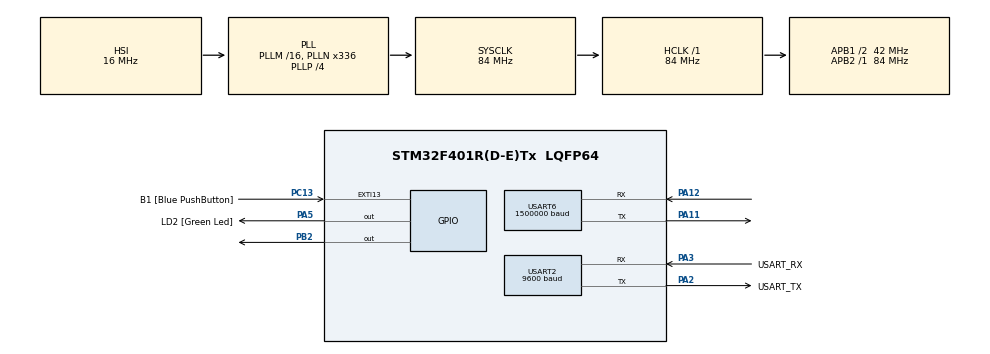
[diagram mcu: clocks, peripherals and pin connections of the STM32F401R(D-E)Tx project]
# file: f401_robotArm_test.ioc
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Mcu.Family=STM32F4
Mcu.Name=STM32F401R(D-E)Tx
Mcu.Package=LQFP64
NVIC.PriorityGroup=NVIC_PRIORITYGROUP_0
NVIC.USART2_IRQn=true\:0\:0\:false\:false\:true\:true\:true
PA11.Mode=Asynchronous
PA11.Signal=USART6_TX
PA12.Mode=Asynchronous
PA12.Signal=USART6_RX
PA13.GPIO_Label=TMS
PA13.Mode=Serial_Wire
PA13.Signal=SYS_JTMS-SWDIO
PA14.GPIO_Label=TCK
PA14.Mode=Serial_Wire
PA14.Signal=SYS_JTCK-SWCLK
PA2.GPIO_Label=USART_TX
PA2.GPIO_Mode=GPIO_MODE_AF_PP
PA2.GPIO_PuPd=GPIO_NOPULL
PA2.GPIO_Speed=GPIO_SPEED_FREQ_LOW
PA2.Mode=Asynchronous
PA2.Signal=USART2_TX
PA3.GPIO_Label=USART_RX
PA3.GPIO_Mode=GPIO_MODE_AF_PP
PA3.GPIO_PuPd=GPIO_NOPULL
PA3.GPIO_Speed=GPIO_SPEED_FREQ_LOW
PA3.Mode=Asynchronous
PA3.Signal=USART2_RX
PA5.GPIO_Label=LD2 [Green Led]
PA5.GPIO_Mode=GPIO_MODE_OUTPUT_PP
PA5.GPIO_PuPd=GPIO_NOPULL
PA5.GPIO_Speed=GPIO_SPEED_FREQ_LOW
PA5.Signal=GPIO_Output
PB2.Signal=GPIO_Output
PB3.GPIO_Label=SWO
PB3.Signal=SYS_JTDO-SWO
PC13-ANTI_TAMP.GPIO_Label=B1 [Blue PushButton]
PC13-ANTI_TAMP.GPIO_ModeDefaultEXTI=GPIO_MODE_IT_FALLING
PC13-ANTI_TAMP.GPIO_PuPd=GPIO_NOPULL
PC13-ANTI_TAMP.Signal=GPXTI13
PC14-OSC32_IN.Mode=LSE-External-Oscillator
PC14-OSC32_IN.Signal=RCC_OSC32_IN
PC15-OSC32_OUT.Mode=LSE-External-Oscillator
PC15-OSC32_OUT.Signal=RCC_OSC32_OUT
PH0\ -\ OSC_IN.Mode=HSE-External-Clock-Source
PH0\ -\ OSC_IN.Signal=RCC_OSC_IN
PH1\ -\ OSC_OUT.Mode=HSE-External-Clock-Source
PH1\ -\ OSC_OUT.Signal=RCC_OSC_OUT
ProjectManager.HeapSize=0x200
ProjectManager.StackSize=0x400
ProjectManager.TargetToolchain=STM32CubeIDE
RCC.48MHZClocksFreq_Value=48000000
RCC.AHBFreq_Value=84000000
RCC.APB1CLKDivider=RCC_HCLK_DIV2
RCC.APB1Freq_Value=42000000
RCC.APB1TimFreq_Value=84000000
RCC.APB2Freq_Value=84000000
RCC.APB2TimFreq_Value=84000000
RCC.CortexFreq_Value=84000000
RCC.HCLKFreq_Value=84000000
RCC.HSE_VALUE=8000000
RCC.HSI_VALUE=16000000
RCC.PLLN=336
RCC.PLLP=RCC_PLLP_DIV4
RCC.PLLQ=7
RCC.SYSCLKFreq_VALUE=84000000
RCC.SYSCLKSource=RCC_SYSCLKSOURCE_PLLCLK
RCC.VCOOutputFreq_Value=336000000
USART2.BaudRate=9600
USART2.VirtualMode=VM_ASYNC
USART6.BaudRate=1500000
USART6.VirtualMode=VM_ASYNC
board=NUCLEO-F401RE

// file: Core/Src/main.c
/* USER CODE BEGIN Header */
/**
  ******************************************************************************
  * @file           : main.c
  * @brief          : Main program body
  ******************************************************************************
  * @attention
  *
  * <h2><center>&copy; Copyright (c) 2022 STMicroelectronics.
  * All rights reserved.</center></h2>
  *
  * This software component is licensed by ST under BSD 3-Clause license,
  * the "License"; You may not use this file except in compliance with the
  * License. You may obtain a copy of the License at:
  *                        opensource.org/licenses/BSD-3-Clause
  *
  ******************************************************************************
  */
/* USER CODE END Header */
#include "main.h"

/* USER CODE BEGIN Includes */
#define DED_ZONE 10
/* USER CODE END Includes */

UART_HandleTypeDef huart2;
UART_HandleTypeDef huart6;

void SystemClock_Config(void);
static void MX_GPIO_Init(void);
static void MX_USART2_UART_Init(void);
static void MX_USART6_UART_Init(void);

/* USER CODE BEGIN 0 */
int gUartReceived = 0;
uint8_t buffer[256];

/* USER CODE END 0 */

int main(void)
{

  /* MCU Configuration--------------------------------------------------------*/

  /* Reset of all peripherals, Initializes the Flash interface and the Systick. */
  HAL_Init();

  /* Configure the system clock */
  SystemClock_Config();

  /* Initialize all configured peripherals */
  MX_GPIO_Init();
  MX_USART2_UART_Init();
  MX_USART6_UART_Init();
  /* USER CODE BEGIN 2 */

  printf("start arm test\r\n");
  uint8_t txdata[9] = {0};
  uint8_t rxdata[20] = {0};
  short torque_val=0, enc_data,dis,pos_tg;

  float pos2enc_tg(int pos){
	  float deg = pos/100;
	  return 11.375*deg;
  }

  void pos(unsigned char id,short deg,unsigned short time)
  {
    unsigned char deg_l = (unsigned char)(deg)&0x00FF;
    unsigned char deg_h = (unsigned char)(deg>>8)&0x00FF;
    unsigned char time_l = (unsigned char)(time)&0x00FF;
    unsigned char time_h = (unsigned char)(time>>8)&0x00FF;
    unsigned char sum = (0x09+0x06+id+deg_l+deg_h+time_l+time_h)&0x00FF;

    HAL_GPIO_WritePin(GPIOB, GPIO_PIN_2, 1);

    txdata[0]=0x09;   //1 SIZE
    txdata[1]=0x06;   //2 COMMAND
    txdata[2]=0x00;   //3 OPTION
    txdata[3]=id;     //4 ID
    txdata[4]=deg_l;  //5 POS_L
    txdata[5]=deg_h;  //6 POS_H
    txdata[6]=time_l; //7 TIME_L
    txdata[7]=time_h; //8 TIME_H
    txdata[8]=sum;    //9 SUM

	HAL_UART_Transmit(&huart6, txdata, 9, 0xFFFF);
    HAL_Delay(0.03);
    HAL_GPIO_WritePin(GPIOB, GPIO_PIN_2, 0);
  }
  void speed(unsigned char id,short speed)
  {
      unsigned char speed_l = (unsigned char)(speed)&0x00FF;
      unsigned char speed_h = (unsigned char)(speed>>8)&0x00FF;
      unsigned char sum = (0x09+0x04+0x00+id+speed_l+speed_h+0x30+0x01)&0x00FF;

      HAL_GPIO_WritePin(GPIOB, GPIO_PIN_2, 1);

      txdata[0]=0x09;//SIZE
      txdata[1]=0x04;//COMMAND
      txdata[2]=0x00;//OPTION
      txdata[3]=id;//ID
      txdata[4]=speed_l;//SPEED_LOWBYTE
      txdata[5]=speed_h;//SPEED_HIGHBYTE
      txdata[6]=0x30;//ADRESS(SPEED 0x03)
      txdata[7]=0x01;//COUNT
      txdata[8]=sum;//SUM

      HAL_UART_Transmit(&huart6, txdata, 9, 0xFFFF);
      HAL_Delay(0.03);
      HAL_GPIO_WritePin(GPIOB, GPIO_PIN_2, 0);
  }
  void torque(unsigned char id,short torque)
  {
      unsigned char torque_l = (unsigned char)(torque)&0x00FF;
      unsigned char torque_h = (unsigned char)(torque>>8)&0x00FF;
      unsigned char sum = (0x09+0x04+0x00+id+torque_l+torque_h+0x3C+0x01)&0x00FF;

      HAL_GPIO_WritePin(GPIOB, GPIO_PIN_2, 1);

      txdata[0]=0x09;//SIZE
      txdata[1]=0x04;//COMMAND
      txdata[2]=0x00;//OPTION
      txdata[3]=id;//ID
      txdata[4]=torque_l;//TORQUE_LOWBYTE
      txdata[5]=torque_h;//TORQUE_HIGHBYTE
      txdata[6]=0x3C;//ADRESS(TORQUE 0x03)
      txdata[7]=0x01;//COUNT
      txdata[8]=sum;//SUM

      HAL_UART_Transmit(&huart6, txdata, 9, 0xFFFF);
      HAL_Delay(0.03);
      HAL_GPIO_WritePin(GPIOB, GPIO_PIN_2, 0);
  }

  void write(unsigned char id,unsigned char data,unsigned char adress)
  {
      unsigned char sum = (0x08+0x04+0x00+id+data+adress+0x01)&0x00FF;
     HAL_GPIO_WritePin(GPIOB, GPIO_PIN_2, 1);
     txdata[0]=0x08;   //1 SIZE
     txdata[1]=0x04;   //2 COMMAND
     txdata[2]=0x00;   //3 OPTION
     txdata[3]=id;     //4 ID
     txdata[4]=data;  //DATA
     txdata[5]=adress;  //ADRESS
     txdata[6]=0x01; //COUNT
     txdata[7]=sum;    //9 SUM

     HAL_UART_Transmit(&huart6, txdata, 8, 0xFFFF);
     HAL_Delay(0.03);
     HAL_GPIO_WritePin(GPIOB, GPIO_PIN_2, 0);

  }
  void read(unsigned char id,unsigned char address,unsigned char length)
  {
	  HAL_GPIO_WritePin(GPIOB, GPIO_PIN_2, 1);
      unsigned char sum = (0x07+0x03+0x00+id+address+length)&0x00FF;
      txdata[0]=0x07;       //SIZE
      txdata[1]=0x03;       //COMMAND
      txdata[2]=0x00;       //OPTION
      txdata[3]=id;         //ID
      txdata[4]=address;    //ADDRESS(Current 0x48,MotorTemperature 0x46)
      txdata[5]=length;     //LENGTH byte
      txdata[6]=sum;        //SUM
      HAL_UART_Transmit(&huart6, txdata, 7, 0xFFFF);
//      HAL_Delay(0.03);
      HAL_GPIO_WritePin(GPIOB, GPIO_PIN_2, 0);
      //wait(0.001);
  }
  int torque_calc(short enc_data,short enc_tg){
	  short torque=0;
	  if(enc_tg-enc_data<0)torque=-200;
	  else torque=200;
	  if(abs(enc_tg-enc_data)<DED_ZONE)torque=0;

	  return torque;
  }

  pos_tg=0;
  float enc_tg=pos2enc_tg(pos_tg);

//----------init--------------------------

  HAL_Delay(5000);
  //id1 torque setting
  write(0x01,0x0A,0x28);
  write(0x01,0x02,0x5C);
  write(0x01,0x08,0x28);

  //id2  pos setting
  write(0x02,0x00,0x28);
  write(0x02,0x00,0x5C);
  write(0x02,0x01,0x29);
  pos(0x02,pos_tg,1000);

  //uart intrrupt setting
  HAL_UART_Receive_IT(&huart2, buffer,6);

  /* USER CODE END 2 */

  /* Infinite loop */
  /* USER CODE BEGIN WHILE */
  while (1)
  {
	  //uart process
	  if(gUartReceived == 1) {
  		  int pos_tg=atol(buffer);
  		  if(abs(pos_tg)>18000){ //posistion error handler
  			  printf("pos ERORR %d\r\n",pos_tg);
  		  }
  		  else{
  			  pos(0x02,pos_tg,1000);
  			  enc_tg=pos2enc_tg(pos_tg);
  			  printf("position is %d\r\n",pos_tg);
  		  }
  		  gUartReceived = 0;
	  }
	  dis=enc_tg-enc_data;

	  torque(0x01,torque_val=torque_calc(enc_data,enc_tg));
	  printf("torque:%3d encoder:%5d distance:%5d\r\n",torque_val,enc_data,dis);

//-------read-------------------------
	  read(0x01,0x50,0x02);
      HAL_UART_Receive(&huart6,rxdata,10,10);

	  if(rxdata[1]!=0){
	  	  enc_data=rxdata[4];
	  	  enc_data+=rxdata[5]<<8;
	  	  if(enc_data>2047) enc_data-=4095;
//	  	  printf("encoder : %d\r\n",enc_data);

	  	  rxdata[1] = 0;
	  }

    /* USER CODE END WHILE */

  }
}

void SystemClock_Config(void)
{
  RCC_OscInitTypeDef RCC_OscInitStruct = {0};
  RCC_ClkInitTypeDef RCC_ClkInitStruct = {0};

  /** Configure the main internal regulator output voltage
  */
  __HAL_RCC_PWR_CLK_ENABLE();
  __HAL_PWR_VOLTAGESCALING_CONFIG(PWR_REGULATOR_VOLTAGE_SCALE2);
  /** Initializes the RCC Oscillators according to the specified parameters
  * in the RCC_OscInitTypeDef structure.
  */
  RCC_OscInitStruct.OscillatorType = RCC_OSCILLATORTYPE_HSI;
  RCC_OscInitStruct.HSIState = RCC_HSI_ON;
  RCC_OscInitStruct.HSICalibrationValue = RCC_HSICALIBRATION_DEFAULT;
  RCC_OscInitStruct.PLL.PLLState = RCC_PLL_ON;
  RCC_OscInitStruct.PLL.PLLSource = RCC_PLLSOURCE_HSI;
  RCC_OscInitStruct.PLL.PLLM = 16;
  RCC_OscInitStruct.PLL.PLLN = 336;
  RCC_OscInitStruct.PLL.PLLP = RCC_PLLP_DIV4;
  RCC_OscInitStruct.PLL.PLLQ = 7;
  if (HAL_RCC_OscConfig(&RCC_OscInitStruct) != HAL_OK)
  {
    Error_Handler();
  }
  /** Initializes the CPU, AHB and APB buses clocks
  */
  RCC_ClkInitStruct.ClockType = RCC_CLOCKTYPE_HCLK|RCC_CLOCKTYPE_SYSCLK
                              |RCC_CLOCKTYPE_PCLK1|RCC_CLOCKTYPE_PCLK2;
  RCC_ClkInitStruct.SYSCLKSource = RCC_SYSCLKSOURCE_PLLCLK;
  RCC_ClkInitStruct.AHBCLKDivider = RCC_SYSCLK_DIV1;
  RCC_ClkInitStruct.APB1CLKDivider = RCC_HCLK_DIV2;
  RCC_ClkInitStruct.APB2CLKDivider = RCC_HCLK_DIV1;

  if (HAL_RCC_ClockConfig(&RCC_ClkInitStruct, FLASH_LATENCY_2) != HAL_OK)
  {
    Error_Handler();
  }
}

static void MX_USART2_UART_Init(void)
{

  huart2.Instance = USART2;
  huart2.Init.BaudRate = 9600;
  huart2.Init.WordLength = UART_WORDLENGTH_8B;
  huart2.Init.StopBits = UART_STOPBITS_1;
  huart2.Init.Parity = UART_PARITY_NONE;
  huart2.Init.Mode = UART_MODE_TX_RX;
  huart2.Init.HwFlowCtl = UART_HWCONTROL_NONE;
  huart2.Init.OverSampling = UART_OVERSAMPLING_16;
  if (HAL_UART_Init(&huart2) != HAL_OK)
  {
    Error_Handler();
  }

}

static void MX_USART6_UART_Init(void)
{

  huart6.Instance = USART6;
  huart6.Init.BaudRate = 1500000;
  huart6.Init.WordLength = UART_WORDLENGTH_8B;
  huart6.Init.StopBits = UART_STOPBITS_1;
  huart6.Init.Parity = UART_PARITY_NONE;
  huart6.Init.Mode = UART_MODE_TX_RX;
  huart6.Init.HwFlowCtl = UART_HWCONTROL_NONE;
  huart6.Init.OverSampling = UART_OVERSAMPLING_16;
  if (HAL_UART_Init(&huart6) != HAL_OK)
  {
    Error_Handler();
  }

}

static void MX_GPIO_Init(void)
{
  GPIO_InitTypeDef GPIO_InitStruct = {0};

  /* GPIO Ports Clock Enable */
  __HAL_RCC_GPIOC_CLK_ENABLE();
  __HAL_RCC_GPIOH_CLK_ENABLE();
  __HAL_RCC_GPIOA_CLK_ENABLE();
  __HAL_RCC_GPIOB_CLK_ENABLE();

  /*Configure GPIO pin Output Level */
  HAL_GPIO_WritePin(LD2_GPIO_Port, LD2_Pin, GPIO_PIN_RESET);

  /*Configure GPIO pin Output Level */
  HAL_GPIO_WritePin(GPIOB, GPIO_PIN_2, GPIO_PIN_RESET);

  /*Configure GPIO pin : B1_Pin */
  GPIO_InitStruct.Pin = B1_Pin;
  GPIO_InitStruct.Mode = GPIO_MODE_IT_FALLING;
  GPIO_InitStruct.Pull = GPIO_NOPULL;
  HAL_GPIO_Init(B1_GPIO_Port, &GPIO_InitStruct);

  /*Configure GPIO pin : LD2_Pin */
  GPIO_InitStruct.Pin = LD2_Pin;
  GPIO_InitStruct.Mode = GPIO_MODE_OUTPUT_PP;
  GPIO_InitStruct.Pull = GPIO_NOPULL;
  GPIO_InitStruct.Speed = GPIO_SPEED_FREQ_LOW;
  HAL_GPIO_Init(LD2_GPIO_Port, &GPIO_InitStruct);

  /*Configure GPIO pin : PB2 */
  GPIO_InitStruct.Pin = GPIO_PIN_2;
  GPIO_InitStruct.Mode = GPIO_MODE_OUTPUT_PP;
  GPIO_InitStruct.Pull = GPIO_NOPULL;
  GPIO_InitStruct.Speed = GPIO_SPEED_FREQ_LOW;
  HAL_GPIO_Init(GPIOB, &GPIO_InitStruct);

}

/* USER CODE BEGIN 4 */
void HAL_UART_RxCpltCallback(UART_HandleTypeDef *huart)
{
	gUartReceived = 1;
	HAL_UART_Receive_IT(&huart2, buffer,6);
}

int _write(int file, char *ptr, int len)
{
  HAL_UART_Transmit(&huart2,(uint8_t *)ptr,len,50);
  return len;
}

/* USER CODE END 4 */

void Error_Handler(void)
{
  __disable_irq();
  while (1)
  {
  }
}

/************************ (C) COPYRIGHT STMicroelectronics *****END OF FILE****/
